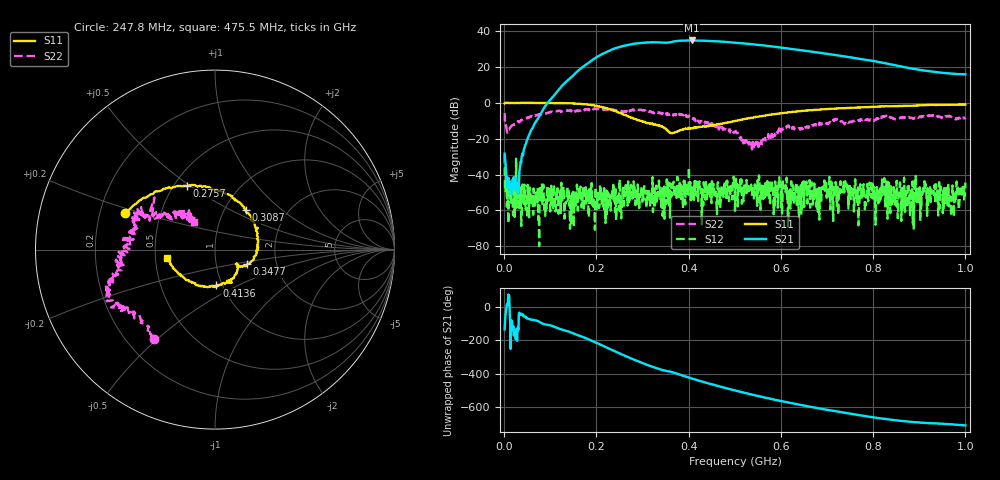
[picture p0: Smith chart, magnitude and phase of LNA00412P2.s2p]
! Created with skrf 1.9.0 (http://scikit-rf.org).
# Hz S RI R 50.0
!freq ReS11 ImS11 ReS21 ImS21 ReS12 ImS12 ReS22 ImS22
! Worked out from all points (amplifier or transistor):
!   1001 points, 1 MHz to 1 GHz, reference 50 ohm
!   highest |S21| = 34.8 dB at 406.6 MHz (marker M1)
!   |S21| within 3 dB of that: 259.7 MHz to 569.4 MHz (309.7 MHz wide, 74.7 % of centre)
!   unconditionally stable (mu >= 1): 268.8 MHz to 321.6 MHz; 321.7 MHz to 375.6 MHz; 400.9 MHz to end of sweep (the widest 3 of 38)
!   at 166.8 MHz: K = 1.35, MAG = 30.0 dB, |S12| = -47.7 dB
!   at 500.5 MHz: K = 9.40, MAG = 34.2 dB, |S12| = -60.2 dB
!   at 1 GHz: K = 2.44, MAG = 23.5 dB, |S12| = -44.4 dB
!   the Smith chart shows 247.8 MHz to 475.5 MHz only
!   S11 on the Smith chart (normalised r, x): 247.8 MHz: 0.31, +0.18; 275.7 MHz: 0.58, +0.48; 308.7 MHz: 1.26, +0.60; 347.7 MHz: 1.41, -0.24; 413.6 MHz: 0.94, -0.39; 475.5 MHz: 0.58, -0.06
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1000000  0.978 -0.00175  -0.0264 -0.0277  -0.0269 0.0236  0.4096 0.3263
1.08892e8  0.5256 -0.8453  -0.7771 -1.464  -0.00277 0.000177  0.4321 -0.3711
1.67833e8  -0.2234 -0.9056  -9.498 -0.6317  -0.000818 -0.000906  0.0391 -0.6317
2.11789e8  -0.6795 -0.3638  -15.12 17.03  -0.00131 -0.000403  -0.1959 -0.6467
2.29771e8  -0.6601 -0.0512  -9.283 27.65  0.00198 0.000675  -0.2684 -0.5846
2.47753e8  -0.5019 0.2034  2.743 35.62  0.0018 -0.00191  -0.3407 -0.496
2.75725e8  -0.1559 0.3541  27.05 33.8  -0.00238 -0.00195  -0.5443 -0.295
3.08692e8  0.1725 0.2213  46.6 12.59  -0.000238 0.00115  -0.576 -0.1671
3.34666e8  0.2331 -0.00145  47.99 -8.663  0.00231 0.000979  -0.5196 -0.057
3.47653e8  0.1795 -0.081  44.83 -16.47  0.000417 0.000413  -0.5013 0.0198
3.75625e8  0.129 -0.0995  40.93 -34.26  -0.000671 0.00867  -0.4751 0.1805
4.06594e8  0.0379 -0.192  21.08 -50.95  0.000522 0.00182  -0.3215 0.1881
4.13587e8  0.00811 -0.1999  15.46 -52.55  -0.00311 0.0017  -0.2915 0.208
4.43557e8  -0.1469 -0.1695  -7.115 -52.88  0.00489 0.000214  -0.2005 0.2136
4.75525e8  -0.2656 -0.0466  -26.75 -43.26  0.00225 -0.000718  -0.1194 0.1522
5.005e8  -0.2975 0.0883  -36.75 -31.28  -0.000768 -0.000603  -0.1038 0.1234
5.4046e8  -0.2458 0.3086  -41.61 -10.07  0.00384 -0.000227  -0.0717 0.00494
5.88412e8  -0.0589 0.4868  -35.04 10.36  0.00441 0.00184  -0.1206 -0.0628
6.67333e8  0.326 0.538  -13.51 22.92  -0.00312 -0.00519  -0.237 -0.0469
7.53247e8  0.6294 0.3685  3.234 18.11  -0.00263 -0.00167  -0.2941 0.0423
8.34166e8  0.7873 0.1355  8.367 8.873  -0.00197 -0.00559  -0.3963 0.0954
1e9  0.8071 -0.403  6.169 1.158  -0.00367 -0.00478  -0.1276 0.3637
